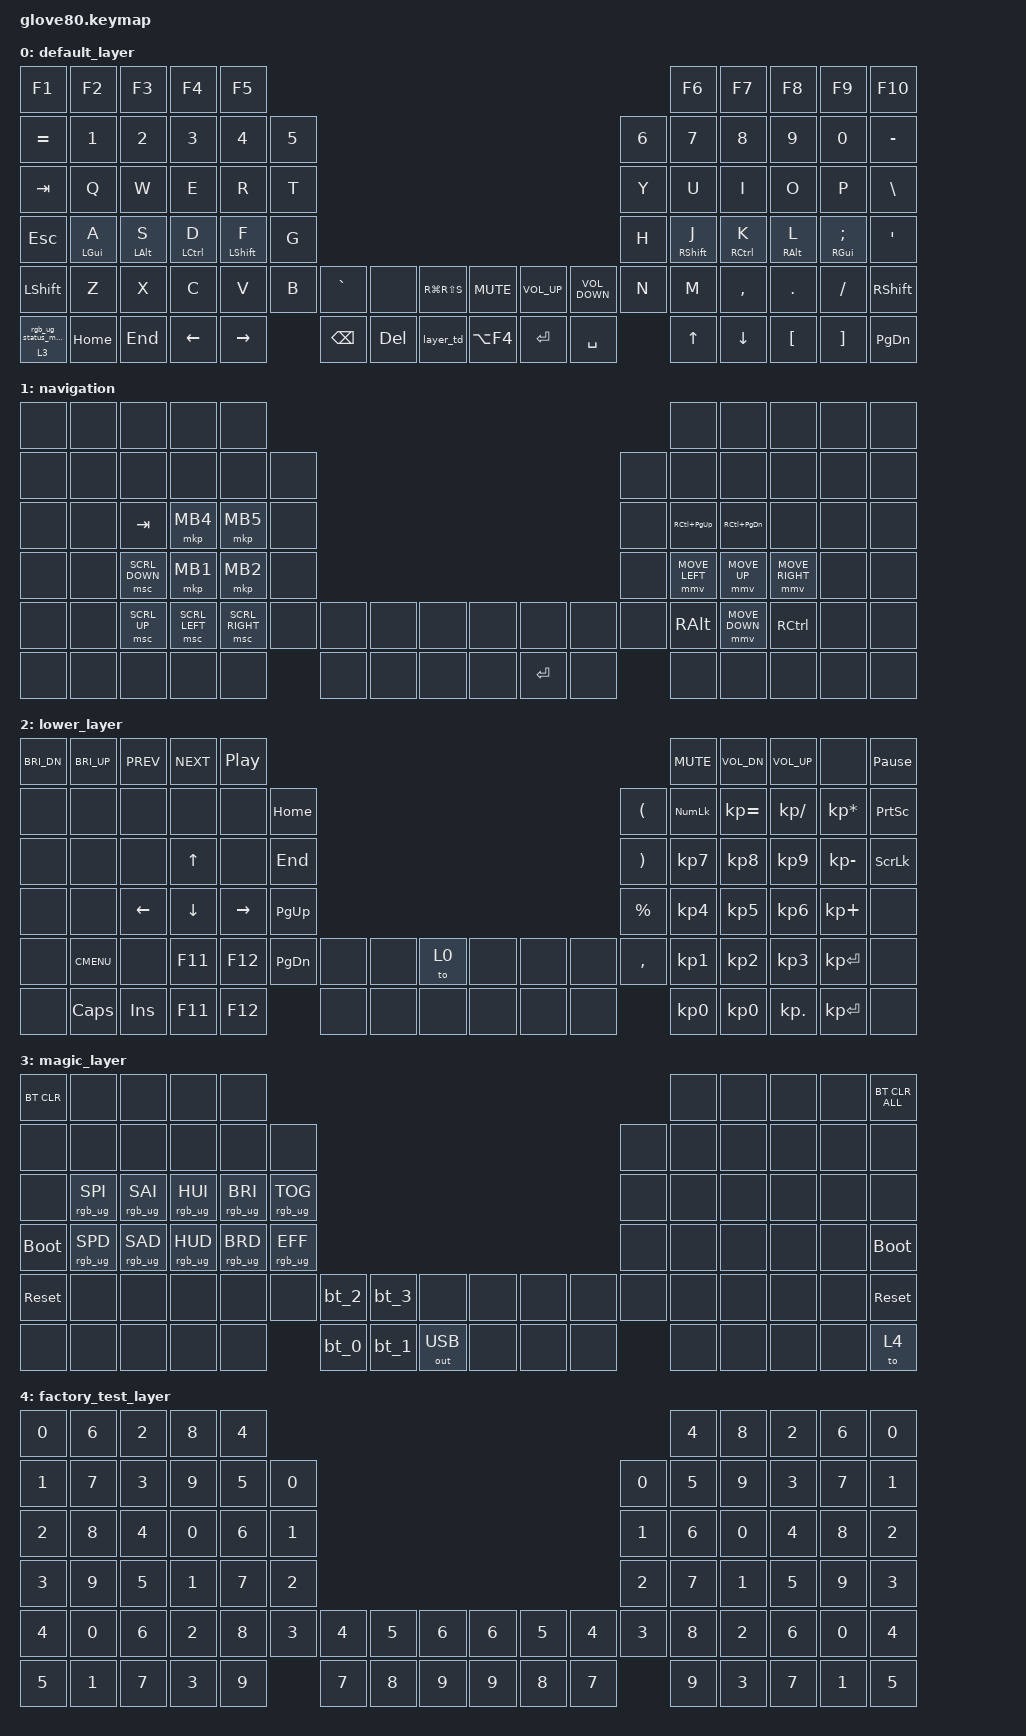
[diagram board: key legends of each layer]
/*
 * Copyright (c) 2020 The ZMK Contributors
 *
 * SPDX-License-Identifier: MIT
 */

#include <behaviors.dtsi>
#include <dt-bindings/zmk/bt.h>
#include <dt-bindings/zmk/keys.h>
#include <dt-bindings/zmk/outputs.h>
#include <dt-bindings/zmk/pointing.h>
#include <dt-bindings/zmk/rgb.h>

#define HYPER LC(LS(LG(LALT)))

// layers

#define DEFAULT 0
#define NAVIGATION 1
#define LOWER 2
#define MAGIC 3
#define FACTORY_TEST 4

/ {
    behaviors {
        // For the "layer" key, it'd nice to be able to use it as either a shift or a toggle.
        // Configure it as a tap dance, so the first tap (or hold) is a &mo and the second tap is a &to

        hm: homerow_mods {
            compatible = "zmk,behavior-hold-tap";
            label = "HOMEROW_MODS";
            #binding-cells = <2>;
            tapping-term-ms = <300>;
            quick_tap_ms = <175>;
            flavor = "tap-preferred";
            bindings = <&kp>, <&kp>;
        };

        as_ht: autoshift_hold_tap {
            compatible = "zmk,behavior-hold-tap";
            label = "AUTOSHIFT_HOLD_TAP";
            bindings = <&shift>, <&kp>;

            #binding-cells = <2>;
            tapping-term-ms = <250>;
            flavor = "tap-preferred";
        };

        auto_control: auto_control_hold_tap {
            compatible = "zmk,behavior-hold-tap";
            label = "AUTO_CONTROL_HOLD_TAP";
            bindings = <&control>, <&kp>;

            #binding-cells = <2>;
            tapping-term-ms = <250>;
            flavor = "tap-preferred";
        };

        layer_td: tap_dance_0 {
            compatible = "zmk,behavior-tap-dance";
            label = "LAYER_TAP_DANCE";
            #binding-cells = <0>;
            tapping-term-ms = <200>;
            bindings = <&mo 2>, <&to 2>;
        };

        magic: magic_hold_tap {
            compatible = "zmk,behavior-hold-tap";
            label = "MAGIC_HOLD_TAP";
            #binding-cells = <2>;
            flavor = "tap-preferred";
            tapping-term-ms = <200>;
            bindings = <&mo>, <&rgb_ug_status_macro>;
        };
    };

    macros {
        as: as {
            compatible = "zmk,behavior-macro-one-param";
            #binding-cells = <1>;
            bindings =
                <&macro_press>,
                <&macro_param_1to1 &macro_param_1to2 &as_ht MACRO_PLACEHOLDER MACRO_PLACEHOLDER>,
                <&macro_pause_for_release>,
                <&macro_release>,
                <&macro_param_1to1 &macro_param_1to2 &as_ht MACRO_PLACEHOLDER MACRO_PLACEHOLDER>;

            label = "AS";
        };

        shift: shift {
            compatible = "zmk,behavior-macro-one-param";
            #binding-cells = <1>;
            bindings =
                <&macro_press>,
                <&kp LEFT_SHIFT>,
                <&macro_tap>,
                <&macro_param_1to1 &kp MACRO_PLACEHOLDER>,
                <&macro_release>,
                <&kp LEFT_SHIFT>;

            label = "SHIFT";
        };

        control: control {
            compatible = "zmk,behavior-macro-one-param";
            #binding-cells = <1>;
            bindings =
                <&macro_press>,
                <&kp LEFT_CONTROL>,
                <&macro_tap>,
                <&macro_param_1to1 &kp MACRO_PLACEHOLDER>,
                <&macro_release>,
                <&kp LEFT_CONTROL>;

            label = "CONTROL";
        };

        ac: ac {
            compatible = "zmk,behavior-macro-one-param";
            #binding-cells = <1>;
            bindings =
                <&macro_press>,
                <&macro_param_1to1 &macro_param_1to2 &auto_control MACRO_PLACEHOLDER MACRO_PLACEHOLDER>,
                <&macro_pause_for_release>,
                <&macro_release>,
                <&macro_param_1to1 &macro_param_1to2 &auto_control MACRO_PLACEHOLDER MACRO_PLACEHOLDER>;

            label = "AC";
        };

        rgb_ug_status_macro: rgb_ug_status_macro_0 {
            label = "RGB_UG_STATUS";
            compatible = "zmk,behavior-macro";
            #binding-cells = <0>;
            bindings = <&rgb_ug RGB_STATUS>;
        };

        bt_0: bt_profile_macro_0 {
            label = "BT_0";
            compatible = "zmk,behavior-macro";
            #binding-cells = <0>;
            bindings = <&out OUT_BLE &bt BT_SEL 0>;
        };

        bt_1: bt_profile_macro_1 {
            label = "BT_1";
            compatible = "zmk,behavior-macro";
            #binding-cells = <0>;
            bindings = <&out OUT_BLE &bt BT_SEL 1>;
        };

        bt_2: bt_profile_macro_2 {
            label = "BT_2";
            compatible = "zmk,behavior-macro";
            #binding-cells = <0>;
            bindings = <&out OUT_BLE &bt BT_SEL 2>;
        };

        bt_3: bt_profile_macro_3 {
            label = "BT_3";
            compatible = "zmk,behavior-macro";
            #binding-cells = <0>;
            bindings = <&out OUT_BLE &bt BT_SEL 3>;
        };
    };

    combos {
        compatible = "zmk,combos";

        mouse_toggle {
            bindings = <&tog 1>;
            key-positions = <69 74>;
        };
    };

    keymap {
        compatible = "zmk,keymap";

        default_layer {
            // ---------------------------------------------------------------------------------------------------------------------------------
            // |  F1   |  F2 |  F3 |  F4  |  F5  |                                                               |  F6   |  F7   |  F8  |   F9  |  F10 |
            // |  =    |  1  |  2  |  3   |  4   |  5   |                                                 |  6   |   7   |   8   |  9   |   0   |   -  |
            // |  TAB  |  Q  |  W  |  E   |  R   |  T   |                                                 |  Y   |   U   |   I   |  O   |   P   |   \  |
            // |  ESC  |  A  |  S  |  D   |  F   |  G   |                                                 |  H   |   J   |   K   |  L   |   ;   |   '  |
            // |   `   |  Z  |  X  |  C   |  V   |  B   | LSHFT | LCTRL | LOWER | | LGUI  | RCTRL | RSHFT |  N   |   M   |   ,   |  .   |   /   | PGUP |
            // | MAGIC | HOME| END | LEFT | RIGHT|      | BSPC  | DEL   | LALT  | | RALT  | RET   | SPACE |      |  UP   | DOWN  |  [   |   ]   | PGDN |

            bindings = <
&kp F1          &kp F2          &kp F3          &kp F4       &kp F5                                                                                                               &kp F6             &kp F7               &kp F8           &kp F9              &kp F10
&kp EQUAL       &kp N1          &kp N2          &kp N3       &kp N4            &kp N5                                                                                     &kp N6  &kp N7             &kp N8               &kp N9           &kp N0              &kp MINUS
&kp TAB         &kp Q           &kp W           &kp E        &kp R             &kp T                                                                                      &kp Y   &kp U              &kp I                &kp O            &kp P               &kp BSLH
&kp ESC         &hm LEFT_GUI A  &hm LEFT_ALT S  &hm LCTRL D  &hm LEFT_SHIFT F  &kp G                                                                                      &kp H   &hm RIGHT_SHIFT J  &hm RIGHT_CONTROL K  &hm RIGHT_ALT L  &hm RIGHT_GUI SEMI  &kp SQT
&kp LEFT_SHIFT  &kp Z           &kp X           &kp C        &kp V             &kp B   &kp GRAVE  &none    &kp RG(RS(S))  &kp C_MUTE  &kp C_VOLUME_UP  &kp C_VOLUME_DOWN  &kp N   &kp M              &kp COMMA            &kp DOT          &kp FSLH            &kp RIGHT_SHIFT
&magic 3 0      &kp HOME        &kp END         &kp LEFT     &kp RIGHT                 &kp BSPC   &kp DEL  &layer_td      &kp LA(F4)  &kp RET          &kp SPACE                  &kp UP             &kp DOWN             &kp LBKT         &kp RBKT            &kp PG_DN
            >;
        };

        navigation {
            bindings = <
&none  &none  &none           &none           &none                                                                        &none            &none              &none              &none  &none
&none  &none  &none           &none           &none            &none                                                &none  &none            &none              &none              &none  &none
&none  &none  &kp TAB         &mkp MB4        &mkp MB5         &none                                                &none  &kp RC(PAGE_UP)  &kp RC(PAGE_DOWN)  &none              &none  &none
&none  &none  &msc SCRL_DOWN  &mkp MB1        &mkp MB2         &none                                                &none  &mmv MOVE_LEFT   &mmv MOVE_UP       &mmv MOVE_RIGHT    &none  &none
&none  &none  &msc SCRL_UP    &msc SCRL_LEFT  &msc SCRL_RIGHT  &none  &none  &none  &none  &none  &none      &none  &none  &kp RIGHT_ALT    &mmv MOVE_DOWN     &kp RIGHT_CONTROL  &none  &none
&none  &none  &none           &none           &none                   &none  &none  &none  &none  &kp ENTER  &none         &none            &none              &none              &none  &none
            >;
        };

        lower_layer {
            bindings = <
&kp C_BRI_DN  &kp C_BRI_UP  &kp C_PREV  &kp C_NEXT  &kp C_PP                                                                   &kp C_MUTE  &kp C_VOL_DN  &kp C_VOL_UP   &none            &kp PAUSE_BREAK
&none         &none         &none       &none       &none      &kp HOME                                             &kp LPAR   &kp KP_NUM  &kp KP_EQUAL  &kp KP_DIVIDE  &kp KP_MULTIPLY  &kp PSCRN
&none         &none         &none       &kp UP      &none      &kp END                                              &kp RPAR   &kp KP_N7   &kp KP_N8     &kp KP_N9      &kp KP_MINUS     &kp SLCK
&none         &none         &kp LEFT    &kp DOWN    &kp RIGHT  &kp PG_UP                                            &kp PRCNT  &kp KP_N4   &kp KP_N5     &kp KP_N6      &kp KP_PLUS      &none
&none         &kp K_CMENU   &none       &kp F11     &kp F12    &kp PG_DN  &none  &none  &to 0  &none  &none  &none  &kp COMMA  &kp KP_N1   &kp KP_N2     &kp KP_N3      &kp KP_ENTER     &none
&none         &kp CAPS      &kp INS     &kp F11     &kp F12               &none  &none  &none  &none  &none  &none             &kp KP_N0   &kp KP_N0     &kp KP_DOT     &kp KP_ENTER     &none
            >;
        };

        magic_layer {
            bindings = <
&bt BT_CLR   &none            &none            &none            &none                                                                                     &none  &none  &none  &none  &bt BT_CLR_ALL
&none        &none            &none            &none            &none            &none                                                             &none  &none  &none  &none  &none  &none
&none        &rgb_ug RGB_SPI  &rgb_ug RGB_SAI  &rgb_ug RGB_HUI  &rgb_ug RGB_BRI  &rgb_ug RGB_TOG                                                   &none  &none  &none  &none  &none  &none
&bootloader  &rgb_ug RGB_SPD  &rgb_ug RGB_SAD  &rgb_ug RGB_HUD  &rgb_ug RGB_BRD  &rgb_ug RGB_EFF                                                   &none  &none  &none  &none  &none  &bootloader
&sys_reset   &none            &none            &none            &none            &none            &bt_2  &bt_3  &none         &none  &none  &none  &none  &none  &none  &none  &none  &sys_reset
&none        &none            &none            &none            &none                             &bt_0  &bt_1  &out OUT_USB  &none  &none  &none         &none  &none  &none  &none  &to 4
            >;
        };

        factory_test_layer {
            bindings = <
&kp N0  &kp N6  &kp N2  &kp N8  &kp N4                                                                  &kp N4  &kp N8  &kp N2  &kp N6  &kp N0
&kp N1  &kp N7  &kp N3  &kp N9  &kp N5  &kp N0                                                  &kp N0  &kp N5  &kp N9  &kp N3  &kp N7  &kp N1
&kp N2  &kp N8  &kp N4  &kp N0  &kp N6  &kp N1                                                  &kp N1  &kp N6  &kp N0  &kp N4  &kp N8  &kp N2
&kp N3  &kp N9  &kp N5  &kp N1  &kp N7  &kp N2                                                  &kp N2  &kp N7  &kp N1  &kp N5  &kp N9  &kp N3
&kp N4  &kp N0  &kp N6  &kp N2  &kp N8  &kp N3  &kp N4  &kp N5  &kp N6  &kp N6  &kp N5  &kp N4  &kp N3  &kp N8  &kp N2  &kp N6  &kp N0  &kp N4
&kp N5  &kp N1  &kp N7  &kp N3  &kp N9          &kp N7  &kp N8  &kp N9  &kp N9  &kp N8  &kp N7          &kp N9  &kp N3  &kp N7  &kp N1  &kp N5
            >;
        };
    };
};
